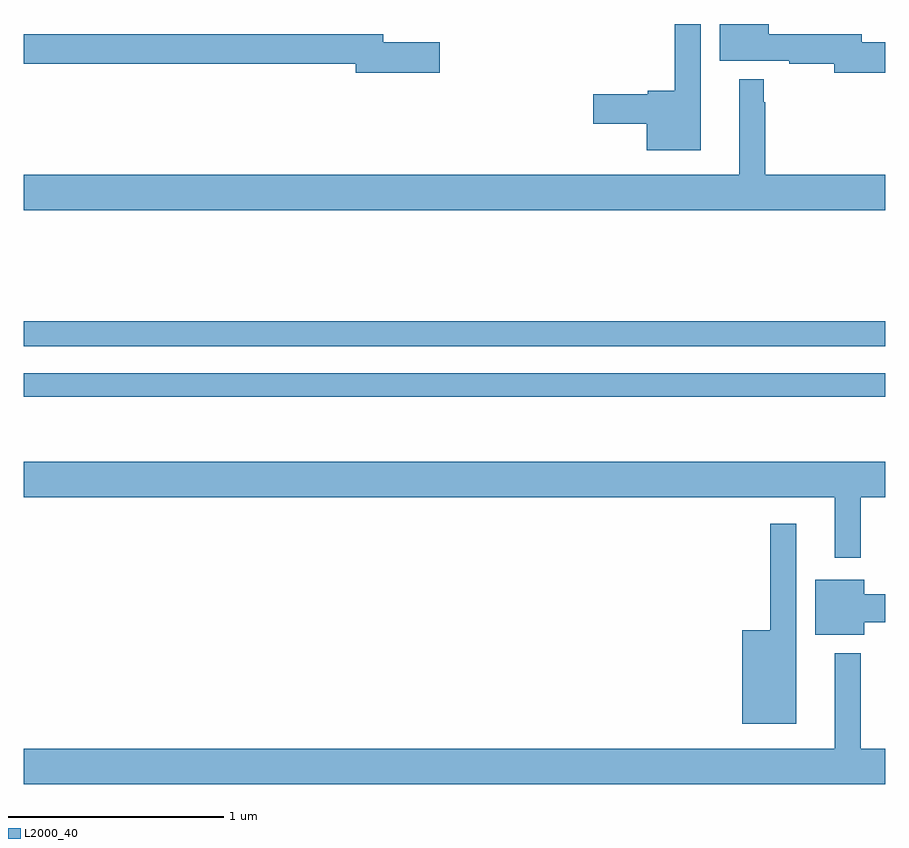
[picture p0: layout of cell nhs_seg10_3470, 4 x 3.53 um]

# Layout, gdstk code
import gdstk
lib = gdstk.Library(unit=1e-6, precision=1e-09)
def R(c, l, rs):  # rectangles x0, y0, x1, y1
    for r in rs: c.add(gdstk.rectangle(r[:2], r[2:], *l))
def P(c, l, *ps):  # polygons
    for p in ps: c.add(gdstk.Polygon(p, *l))
L2000_40 = (2000, 40)

nhs_seg10_3470 = lib.new_cell('nhs_seg10_3470')
R(nhs_seg10_3470, L2000_40, [(299,1312.77,303,1312.878), (299,1313.004,303,1313.12)])
P(nhs_seg10_3470, L2000_40, [(303,1314.416),(302.89,1314.416),(302.89,1314.452),(302.458,1314.452),(302.458,1314.5),(302.231,1314.5),(302.231,1314.329),(302.554,1314.329),(302.554,1314.316),(302.762,1314.316),(302.762,1314.274),(303,1314.274)],
  [(302.143,1314.5),(302.022,1314.5),(302.022,1314.191),(301.896,1314.191),(301.896,1314.173),(301.644,1314.173),(301.644,1314.038),(301.892,1314.038),(301.892,1313.915),(302.143,1313.915)],
  [(300.931,1314.416),(300.67,1314.416),(300.67,1314.452),(299,1314.452),(299,1314.316),(300.542,1314.316),(300.542,1314.274),(300.931,1314.274)],
  [(303,1313.8),(302.443,1313.8),(302.443,1314.137),(302.436,1314.137),(302.436,1314.244),(302.321,1314.244),(302.321,1313.8),(299,1313.8),(299,1313.636),(303,1313.636)],
  [(302.887,1312.304),(303,1312.304),(303,1312.468),(299,1312.468),(299,1312.304),(302.765,1312.304),(302.765,1312.023),(302.887,1312.023)],
  [(302.587,1312.18),(302.466,1312.18),(302.466,1311.685),(302.336,1311.685),(302.336,1311.251),(302.587,1311.251)],
  [(302.902,1311.724),(303,1311.724),(303,1311.853),(302.902,1311.853),(302.902,1311.919),(302.675,1311.919),(302.675,1311.665),(302.902,1311.665)],
  [(303,1311.136),(302.887,1311.136),(302.887,1311.58),(302.765,1311.58),(302.765,1311.136),(299,1311.136),(299,1310.972),(303,1310.972)])

lib.write_gds('nhs_seg10_3470.gds')
